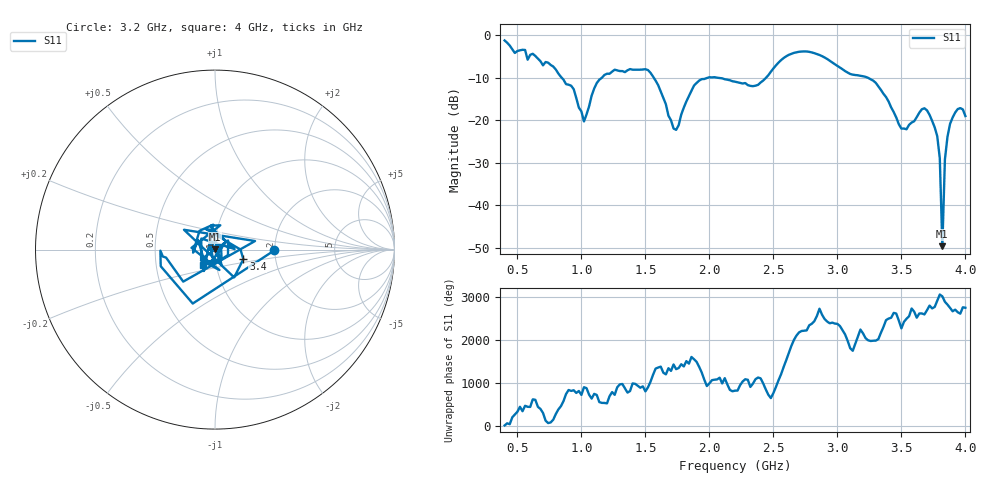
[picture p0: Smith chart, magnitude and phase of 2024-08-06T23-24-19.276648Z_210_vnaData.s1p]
!Created with skrf (http://scikit-rf.org).
# Hz S RI R 50.0
!freq ReS11 ImS11
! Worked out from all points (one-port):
!   181 points, 400 MHz to 4 GHz, reference 50 ohm
!   lowest |S11| = -49.6 dB at 3.82 GHz (marker M1), VSWR 1.01, Z = 49.8 + j0.226 ohm
!   |S11| at or under -10 dB: 1.566 GHz to 1.984 GHz (418.3 MHz wide, 23.6 % of centre); 2.07 GHz to 2.442 GHz (371.4 MHz wide, 16.5 % of centre); 3.24 GHz to end of sweep (the widest 3 of 4)
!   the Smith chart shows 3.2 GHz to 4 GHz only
!   S11 on the Smith chart (normalised r, x): 3.2 GHz: 1.99, -0.02; 3.4 GHz: 1.37, -0.15; 4 GHz: 0.86, -0.15
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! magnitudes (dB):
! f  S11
! 400 MHz  -1.2
! 860 MHz  -10.4
! 940 MHz  -12.7
! 1.02 GHz  -20.3
! 1.12 GHz  -11.2
! 1.3 GHz  -8.4
! 1.52 GHz  -8.2
! 1.6 GHz  -11.7
! 1.72 GHz  -21.9
! 1.76 GHz  -21.1
! 1.92 GHz  -10.6
! 2.2 GHz  -10.9
! 2.38 GHz  -11.7
! 2.66 GHz  -4.1
! 2.86 GHz  -4.6
! 3.1 GHz  -9.1
! 3.2 GHz  -9.6
! 3.4 GHz  -15.6
! 3.5 GHz  -21.9
! 3.56 GHz  -21.0
! 3.68 GHz  -17.2
! 3.78 GHz  -23.7
! 3.8 GHz  -28.9
! 3.82 GHz  -49.6
! 3.84 GHz  -29.2
! 3.86 GHz  -23.9
! 3.94 GHz  -17.3
! 4 GHz  -19.0
